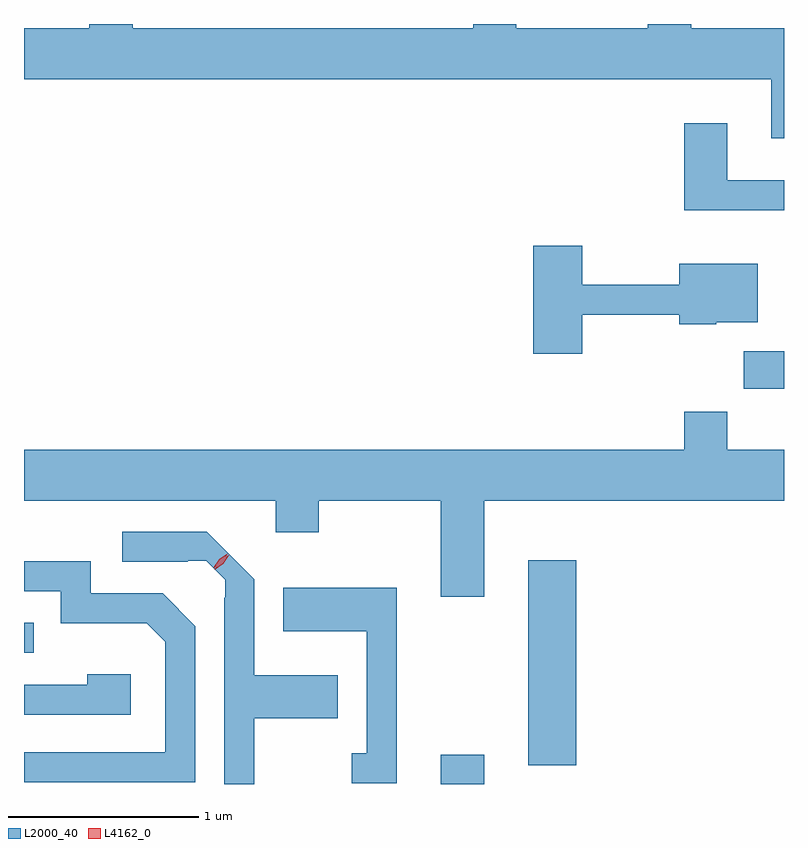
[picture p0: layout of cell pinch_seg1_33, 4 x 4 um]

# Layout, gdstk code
import gdstk
lib = gdstk.Library(unit=1e-6, precision=1e-09)
def R(c, l, rs):  # rectangles x0, y0, x1, y1
    for r in rs: c.add(gdstk.rectangle(r[:2], r[2:], *l))
def P(c, l, *ps):  # polygons
    for p in ps: c.add(gdstk.Polygon(p, *l))
L2000_40 = (2000, 40)
L4162_0 = (4162, 0)

pinch_seg1_33 = lib.new_cell('pinch_seg1_33')
R(pinch_seg1_33, L2000_40, [(1110.181,938.046,1110.409,938.199), (1110.641,938.146,1110.894,939.224), (1107.987,938.736,1108.038,938.894), (1111.776,940.126,1111.987,940.324)])
P(pinch_seg1_33, L2000_40, [(1111.987,942.024),(1111.499,942.024),(1111.499,942.046),(1111.271,942.046),(1111.271,942.024),(1110.579,942.024),(1110.579,942.046),(1110.351,942.046),(1110.351,942.024),(1108.559,942.024),(1108.559,942.046),(1108.331,942.046),(1108.331,942.024),(1107.987,942.024),(1107.987,941.756),(1111.921,941.756),(1111.921,941.446),(1111.987,941.446)],
  [(1111.987,941.224),(1111.689,941.224),(1111.689,941.524),(1111.461,941.524),(1111.461,941.066),(1111.987,941.066)],
  [(1110.924,940.516),(1111.436,940.516),(1111.436,940.466),(1111.63,940.466),(1111.63,940.476),(1111.849,940.476),(1111.849,940.784),(1111.436,940.784),(1111.436,940.674),(1110.924,940.674),(1110.924,940.879),(1110.666,940.879),(1110.666,940.311),(1110.924,940.311)],
  [(1110.409,939.536),(1111.987,939.536),(1111.987,939.804),(1111.689,939.804),(1111.689,940.004),(1111.461,940.004),(1111.461,939.804),(1107.987,939.804),(1107.987,939.536),(1109.311,939.536),(1109.311,939.371),(1109.539,939.371),(1109.539,939.536),(1110.181,939.536),(1110.181,939.031),(1110.409,939.031)],
  [(1109.199,938.391),(1109.639,938.391),(1109.639,938.619),(1109.199,938.619),(1109.199,939.124),(1108.949,939.374),(1108.503,939.374),(1108.503,939.216),(1108.85,939.216),(1108.85,939.22),(1108.945,939.22),(1109.045,939.12),(1109.045,939.025),(1109.041,939.025),(1109.041,938.046),(1109.199,938.046)],
  [(1108.889,938.877),(1108.717,939.049),(1108.339,939.049),(1108.339,939.219),(1107.987,939.219),(1107.987,939.061),(1108.181,939.061),(1108.181,938.891),(1108.634,938.891),(1108.731,938.794),(1108.731,938.214),(1107.987,938.214),(1107.987,938.056),(1108.889,938.056)],
  [(1109.949,939.079),(1109.351,939.079),(1109.351,938.851),(1109.791,938.851),(1109.791,938.209),(1109.713,938.209),(1109.713,938.051),(1109.949,938.051)],
  [(1108.549,938.624),(1108.321,938.624),(1108.321,938.569),(1107.987,938.569),(1107.987,938.411),(1108.549,938.411)])
P(pinch_seg1_33, L4162_0, [(1108.99,939.174),(1108.99,939.175),(1109.022,939.22),(1109.067,939.252),(1109.068,939.252),(1109.068,939.252),(1109.036,939.206),(1108.991,939.174)],
  [(1108.986,939.185),(1108.986,939.186),(1109.014,939.228),(1109.056,939.257),(1109.056,939.257),(1109.056,939.256),(1109.028,939.214),(1108.987,939.185)])

lib.write_gds('pinch_seg1_33.gds')
